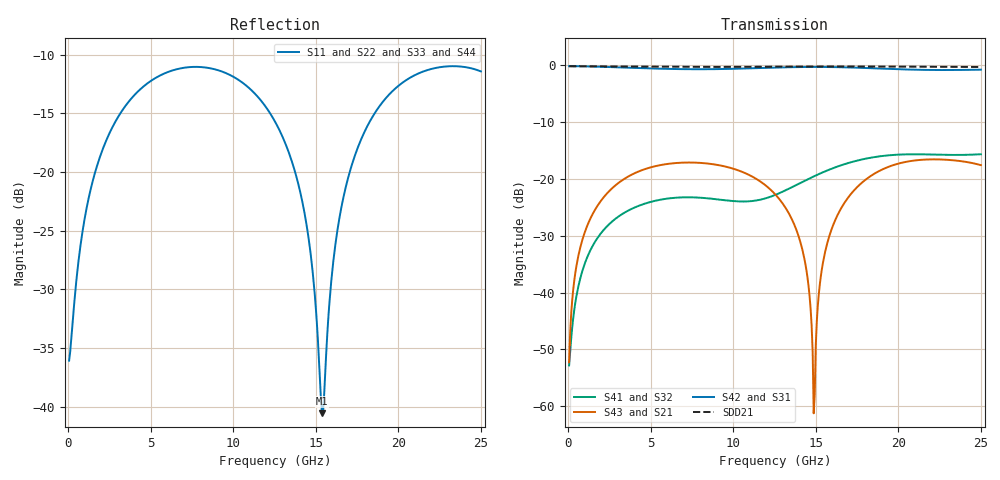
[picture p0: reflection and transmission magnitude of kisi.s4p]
! thru_BV_ts_m2_per0_q050f25s_in: 2×thru F.Cu, 6 mm, pair
! stackup: as the board case
! ports: 1 near, 2 near, 3 far, 4 far
! kisi-fdtd, conformal, dfine 0.05 mm, 199920 cells
# Hz S RI R 50
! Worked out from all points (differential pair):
!   400 points, 62.5 MHz to 25 GHz, reference 50 ohm
!   strongest paths, dB at 62.5 MHz, 6.312 GHz, 12.56 GHz, 18.81 GHz, 25 GHz:
!     S42: -0.1, -0.6, -0.4, -0.5, -0.7
!     S31: -0.1, -0.6, -0.4, -0.5, -0.7
!     S43: -52.3, -17.2, -22.8, -18.6, -17.6
!     S21: -52.3, -17.2, -22.8, -18.6, -17.6
!     S41: -52.8, -23.3, -22.8, -16.0, -15.6
!     S32: -52.8, -23.3, -22.8, -16.0, -15.6
!   taken as a pair (ports 2,1 in; 4,3 out), SDD21 dB: -0.1, -0.2, -0.2, -0.2, -0.3
!   lowest |S11| = -40.6 dB at 15.38 GHz (marker M1), VSWR 1.02, Z = 50.9 - j0.186 ohm
!   |S11| at or under -10 dB: start of sweep to end of sweep
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6.25e7  -0.0152 0.00408  0.00122 0.00211  0.9855 -0.0133  0.00196 -0.00118
        0.00122 0.00211  -0.0152 0.00408  0.00196 -0.00118  0.9855 -0.0133
        0.9855 -0.0133  0.00196 -0.00118  -0.0152 0.00408  0.00122 0.00211
        0.00196 -0.00118  0.9855 -0.0133  0.00122 0.00211  -0.0152 0.00408
4.5e9  0.1802 0.1421  0.1041 0.0598  0.5618 -0.7614  -0.0591 -0.00812
       0.1041 0.0598  0.1802 0.1421  -0.0591 -0.00812  0.5618 -0.7614
       0.5618 -0.7614  -0.0591 -0.00812  0.1802 0.1421  0.1041 0.0598
       -0.0591 -0.00812  0.5618 -0.7614  0.1041 0.0598  0.1802 0.1421
1.3e10  0.0765 -0.118  0.0239 -0.0558  -0.825 -0.4944  -0.0291 0.0717
        0.0239 -0.0558  0.0765 -0.118  -0.0291 0.0717  -0.825 -0.4944
        -0.825 -0.4944  -0.0291 0.0717  0.0765 -0.118  0.0239 -0.0558
        -0.0291 0.0717  -0.825 -0.4944  0.0239 -0.0558  0.0765 -0.118
1.44375e10  0.0207 -0.0561  0.00111 -0.0156  -0.9426 -0.2271  -0.0185 0.0964
            0.00111 -0.0156  0.0207 -0.0561  -0.0185 0.0964  -0.9426 -0.2271
            -0.9426 -0.2271  -0.0185 0.0964  0.0207 -0.0561  0.00111 -0.0156
            -0.0185 0.0964  -0.9426 -0.2271  0.00111 -0.0156  0.0207 -0.0561
1.4875e10  0.0125 -0.0314  -4.32e-05 -0.000863  -0.9603 -0.1384  -0.0114 0.1047
           -4.32e-05 -0.000863  0.0125 -0.0314  -0.0114 0.1047  -0.9603 -0.1384
           -0.9603 -0.1384  -0.0114 0.1047  0.0125 -0.0314  -4.32e-05 -0.000863
           -0.0114 0.1047  -0.9603 -0.1384  -4.32e-05 -0.000863  0.0125 -0.0314
1.5375e10  0.00918 -0.00182  0.00243 0.0161  -0.9693 -0.0352  -0.00064 0.1137
           0.00243 0.0161  0.00918 -0.00182  -0.00064 0.1137  -0.9693 -0.0352
           -0.9693 -0.0352  -0.00064 0.1137  0.00918 -0.00182  0.00243 0.0161
           -0.00064 0.1137  -0.9693 -0.0352  0.00243 0.0161  0.00918 -0.00182
2.5e10  0.2489 -0.1008  0.1038 -0.0823  0.2918 0.8702  0.1404 -0.0872
        0.1038 -0.0823  0.2489 -0.1008  0.1404 -0.0872  0.2918 0.8702
        0.2918 0.8702  0.1404 -0.0872  0.2489 -0.1008  0.1038 -0.0823
        0.1404 -0.0872  0.2918 0.8702  0.1038 -0.0823  0.2489 -0.1008
